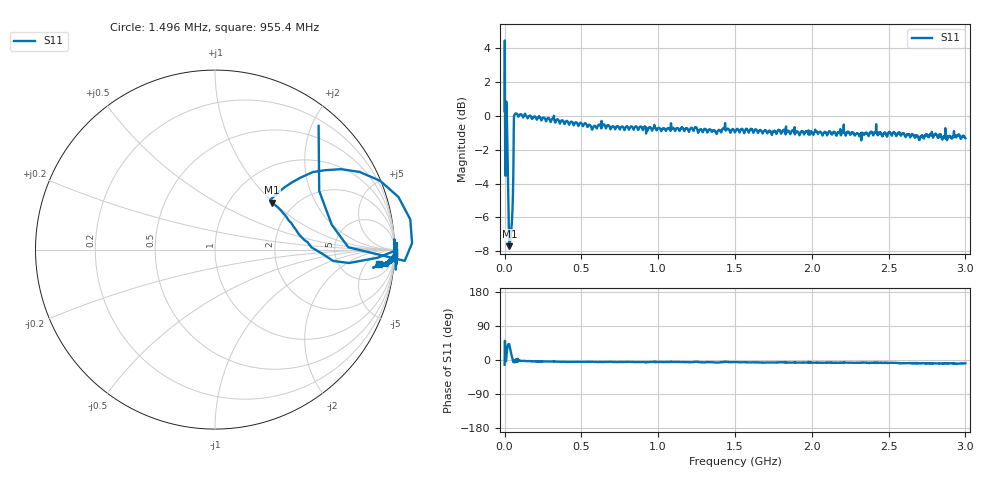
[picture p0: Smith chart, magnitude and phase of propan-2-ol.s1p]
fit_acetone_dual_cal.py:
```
"""
Dual-Reference Calibration (Water + Isopropanol) for Acetone (Propan-2-one) Analysis

Method:
1. Load Reference Data:
   - Isopropanol (NPL 15°C)
   - Water (Literature 20°C)
2. Load S1P Measurements:
   - Isopropanol
   - Water
   - Acetone (Propan-2-one)
3. Create Dual Calibration Mapping:
   Model: ε = α * Y + β
   Where Y = (1-S11)/(1+S11) (Admittance)
   We solve for complex coefficients α and β at each frequency using the two standards.
4. Apply mapping to Acetone S1P to extract permittivity.
5. Fit Debye model to the result.
"""

import numpy as np
import matplotlib.pyplot as plt
from pathlib import Path
import sys
from scipy.optimize import minimize

# Add parent directory to path for imports
sys.path.insert(0, str(Path(__file__).parent))
from ml_classifier.data_loader import parse_s1p_file

# =============================================================================
# MODELS
# =============================================================================

def debye_model(f, eps_s, eps_inf, tau):
    """Single Debye relaxation - returns complex permittivity"""
    omega = 2 * np.pi * f
    denom = 1 + (omega * tau)**2
    eps_prime = eps_inf + (eps_s - eps_inf) / denom
    eps_double_prime = (eps_s - eps_inf) * omega * tau / denom
    return eps_prime, eps_double_prime

def s11_to_admittance(s11_mag, phase_rad):
    """Convert S11 (polar) to Admittance Y = (1-Gamma)/(1+Gamma)"""
    gamma = s11_mag * np.exp(1j * phase_rad)
    # Avoid division by zero if gamma is exactly -1
    gamma = np.where(gamma == -1, -0.999999, gamma)
    y = (1 - gamma) / (1 + gamma)
    return y

# =============================================================================
# DATA LOADING
# =============================================================================

def load_npl_isopropanol():
    """Load NPL reference data for isopropanol at 15C"""
    csv_path = Path("isopropanol_permittivity_15C_NPL.csv")
    if not csv_path.exists():
        raise FileNotFoundError(f"Could not find {csv_path}")
        
    data = np.genfromtxt(csv_path, delimiter=',', skip_header=1)
    return {
        'freq_hz': data[:, 0] * 1e9,
        'freq_ghz': data[:, 0],
        'eps_prime': data[:, 1],
        'eps_double_prime': data[:, 3]
    }

def load_literature_water():
    """Load literature water permittivity data"""
    csv_path = Path("water_permittivity_literature.csv")
    if not csv_path.exists():
        raise FileNotFoundError(f"Could not find {csv_path}")
        
    data = np.genfromtxt(csv_path, delimiter=',', skip_header=1)
    return {
        'freq_ghz': data[:, 0],
        'eps_prime_20C': data[:, 3],
        'eps_double_prime_20C': data[:, 4]
    }

def load_s1p_file(filepath):
    """Load S1P file and return frequency, magnitude (linear), phase (rad)"""
    freq_hz, s11_db, phase_deg = parse_s1p_file(filepath)
    return {
        'freq_hz': freq_hz,
        'freq_ghz': freq_hz / 1e9,
        's11_mag': 10 ** (s11_db / 20),
        'phase_rad': np.deg2rad(phase_deg),
        's11_db': s11_db,
        'phase_deg': phase_deg
    }

# =============================================================================
# DUAL CALIBRATION
# =============================================================================

def create_dual_calibration(npl_iso, lit_water, s1p_iso, s1p_water, freq_range=(0.1e9, 3e9)):
    """
    Create calibration using TWO standards: Isopropanol and Water.
    Model: epsilon = alpha * Y + beta
    """
    # Common frequencies (use NPL iso frequencies as base)
    mask = (npl_iso['freq_hz'] >= freq_range[0]) & (npl_iso['freq_hz'] <= freq_range[1])
    freqs = npl_iso['freq_hz'][mask]
    
    # 1. Reference Permittivities at these frequencies
    # Isopropanol
    eps_iso = npl_iso['eps_prime'][mask] - 1j * npl_iso['eps_double_prime'][mask]
    
    # Water (Interpolate literature data)
    # Use 20C data as it's closest to 18C measurements
    eps_water_prime = np.interp(freqs/1e9, lit_water['freq_ghz'], lit_water['eps_prime_20C'])
    eps_water_dprime = np.interp(freqs/1e9, lit_water['freq_ghz'], lit_water['eps_double_prime_20C'])
    eps_water = eps_water_prime - 1j * eps_water_dprime
    
    # 2. Measured Admittances at these frequencies
    # Isopropanol
    s11_iso_mag = np.interp(freqs, s1p_iso['freq_hz'], s1p_iso['s11_mag'])
    phase_iso = np.interp(freqs, s1p_iso['freq_hz'], s1p_iso['phase_rad'])
    y_iso = s11_to_admittance(s11_iso_mag, phase_iso)
    
    # Water
    s11_water_mag = np.interp(freqs, s1p_water['freq_hz'], s1p_water['s11_mag'])
    phase_water = np.interp(freqs, s1p_water['freq_hz'], s1p_water['phase_rad'])
    y_water = s11_to_admittance(s11_water_mag, phase_water)
    
    # 3. Solve for alpha and beta
    # epsilon = alpha * Y + beta
    # eps_iso = alpha * y_iso + beta
    # eps_water = alpha * y_water + beta
    
    # Subtracting: eps_water - eps_iso = alpha * (y_water - y_iso)
    # alpha = (eps_water - eps_iso) / (y_water - y_iso)
    
    denom = y_water - y_iso
    # Avoid division by zero
    denom = np.where(np.abs(denom) < 1e-10, 1e-10, denom)
    
    alpha = (eps_water - eps_iso) / denom
    beta = eps_water - alpha * y_water
    
    return {
        'freq_hz': freqs,
        'alpha': alpha,
        'beta': beta,
        'y_iso': y_iso,
        'y_water': y_water,
        'eps_iso': eps_iso,
        'eps_water': eps_water
    }

def apply_dual_calibration(calibration, s1p_target):
    """Apply dual calibration to target S1P data"""
    cal_freqs = calibration['freq_hz']
    alpha = calibration['alpha']
    beta = calibration['beta']
    
    # Interpolate target S1P to calibration frequencies
    s11_mag_interp = np.interp(cal_freqs, s1p_target['freq_hz'], s1p_target['s11_mag'])
    phase_rad_interp = np.interp(cal_freqs, s1p_target['freq_hz'], s1p_target['phase_rad'])
    
    # Calculate Admittance Y for Target
    y_target = s11_to_admittance(s11_mag_interp, phase_rad_interp)
    
    # Apply Calibration: epsilon = alpha * Y + beta
    eps_complex = alpha * y_target + beta
    
    return {
        'freq_hz': cal_freqs,
        'freq_ghz': cal_freqs / 1e9,
        'eps_prime': np.real(eps_complex),
        'eps_double_prime': -np.imag(eps_complex), # Convention: eps'' is positive loss
        'y_target': y_target
    }

def fit_debye_parameters(freq_hz, eps_prime, eps_double_prime):
    """Fit Debye model to extracted permittivity"""
    
    def residual(params):
        eps_s, eps_inf, tau = params
        ep, edp = debye_model(freq_hz, eps_s, eps_inf, tau)
        
        # Weighted residual
        res_p = np.sum(((eps_prime - ep) / np.mean(eps_prime))**2)
        res_dp = np.sum(((eps_double_prime - edp) / (np.mean(eps_double_prime)+0.1))**2)
        return res_p + res_dp

    # Initial guesses for Acetone
    # Expected: eps_s ~ 20-21, eps_inf ~ 1.8-2.0, tau ~ 3-4 ps
    x0 = [20.0, 1.9, 3e-12] # eps_s, eps_inf, tau
    bounds = [(5, 40), (1, 10), (1e-13, 1e-10)]
    
    result = minimize(residual, x0, bounds=bounds, method='L-BFGS-B')
    
    eps_s, eps_inf, tau = result.x
    
    # Calculate R2
    ep_fit, edp_fit = debye_model(freq_hz, eps_s, eps_inf, tau)
    ss_res = np.sum((eps_prime - ep_fit)**2) + np.sum((eps_double_prime - edp_fit)**2)
    ss_tot = np.sum((eps_prime - np.mean(eps_prime))**2) + np.sum((eps_double_prime - np.mean(eps_double_prime))**2)
    r2 = 1 - (ss_res / ss_tot)
    
    return {
        'eps_s': eps_s,
        'eps_inf': eps_inf,
        'tau': tau,
        'f_relax': 1/(2*np.pi*tau),
        'r2': r2
    }

# =============================================================================
# PLOTTING
# =============================================================================

def plot_results(calibration, target_result, target_fit, output_path):
    """Plot the results"""
    fig, axes = plt.subplots(2, 2, figsize=(14, 10))
    
    # 1. Calibration Standards (Admittance Plane)
    ax = axes[0, 0]
    ax.plot(np.real(calibration['y_iso']), np.imag(calibration['y_iso']), 'b-', label='Iso (Ref)')
    ax.plot(np.real(calibration['y_water']), np.imag(calibration['y_water']), 'c-', label='Water (Ref)')
    ax.plot(np.real(target_result['y_target']), np.imag(target_result['y_target']), 'r-', label='Acetone (Target)')
    ax.set_title("Admittance Plane (Y)")
    ax.set_xlabel("Real(Y)")
    ax.set_ylabel("Imag(Y)")
    ax.legend()
    ax.grid(True, alpha=0.3)
    
    # 2. Calibration Coefficients
    ax = axes[0, 1]
    freq_ghz = calibration['freq_hz'] / 1e9
    ax.plot(freq_ghz, np.abs(calibration['alpha']), 'g-', label='|α|')
    ax.plot(freq_ghz, np.abs(calibration['beta']), 'm-', label='|β|')
    ax.set_title("Calibration Coeffs (ε = αY + β)")
    ax.set_xlabel("Frequency (GHz)")
    ax.set_ylabel("Magnitude")
    ax.legend()
    ax.grid(True, alpha=0.3)
    
    # 3. Extracted Permittivity & Fit
    ax = axes[1, 0]
    freq_smooth = np.linspace(target_result['freq_hz'].min(), target_result['freq_hz'].max(), 100)
    ep_fit, edp_fit = debye_model(freq_smooth, target_fit['eps_s'], target_fit['eps_inf'], target_fit['tau'])
    
    ax.plot(target_result['freq_ghz'], target_result['eps_prime'], 'bo', alpha=0.5, label="Data")
    ax.plot(freq_smooth/1e9, ep_fit, 'k--', linewidth=2, label="Debye Fit")
    
    ax.set_title(f"Acetone ε' Fit (εs={target_fit['eps_s']:.2f})")
    ax.set_xlabel("Frequency (GHz)")
    ax.set_ylabel("Real Permittivity")
    ax.legend()
    ax.grid(True, alpha=0.3)
    
    # 4. Imaginary Part
    ax = axes[1, 1]
    ax.plot(target_result['freq_ghz'], target_result['eps_double_prime'], 'ro', alpha=0.5, label="Data")
    ax.plot(freq_smooth/1e9, edp_fit, 'k--', linewidth=2, label="Debye Fit")
    
    ax.set_title(f"Acetone ε'' Fit (τ={target_fit['tau']*1e12:.1f}ps)")
    ax.set_xlabel("Frequency (GHz)")
    ax.set_ylabel("Imaginary Permittivity")
    ax.legend()
    ax.grid(True, alpha=0.3)
    
    plt.suptitle(f"Acetone Dual-Cal Analysis (Water+Iso)\nR²={target_fit['r2']:.4f}", fontsize=14)
    plt.tight_layout(rect=[0, 0.03, 1, 0.97])
    plt.savefig(output_path, dpi=300)
    print(f"Saved plot to {output_path}")

# =============================================================================
# MAIN
# =============================================================================

def main():
    print("="*80)
    print("ACETONE (PROPAN-2-ONE) DUAL-CALIBRATION ANALYSIS")
    print("Using both Water and Isopropanol as references")
    print("="*80)
    
    # 1. Load References
    print("Loading Reference Data...")
    try:
        npl_iso = load_npl_isopropanol()
        lit_water = load_literature_water()
    except Exception as e:
        print(f"Error loading references: {e}")
        return

    # 2. Load S1P Files
    print("Loading S1P Measurements...")
    try:
        # Isopropanol
        iso_path = Path("Database/Isopropanol/propan-2-ol.s1p")
        if not iso_path.exists(): iso_path = Path("compounds/propan-2-ol.s1p")
        s1p_iso = load_s1p_file(iso_path)
        
        # Water
        water_path = Path("Database/Water/DI-water.s1p")
        if not water_path.exists(): water_path = Path("compounds/DI-water.s1p")
        s1p_water = load_s1p_file(water_path)
        
        # Acetone
        acetone_path = Path("Database/Propan-2-one/propan-2-one.s1p")
        if not acetone_path.exists(): acetone_path = Path("compounds/propan-2-one.s1p")
        s1p_acetone = load_s1p_file(acetone_path)
        
    except Exception as e:
        print(f"Error loading S1P files: {e}")
        return
    
    # 3. Create Dual Calibration
    print("Creating Dual Calibration (Water + Iso)...")
    cal = create_dual_calibration(npl_iso, lit_water, s1p_iso, s1p_water)
    
    # 4. Apply to Acetone
    print("Applying Calibration to Acetone...")
    acetone_result = apply_dual_calibration(cal, s1p_acetone)
    
    # 5. Fit Debye
    print("Fitting Debye Model...")
    fit = fit_debye_parameters(acetone_result['freq_hz'], 
                               acetone_result['eps_prime'], 
                               acetone_result['eps_double_prime'])
    
    print("\nRESULTS:")
    print(f"Static Permittivity (εs): {fit['eps_s']:.2f} (Expected ~20-21)")
    print(f"High-Freq Permittivity (ε∞): {fit['eps_inf']:.2f} (Expected ~1.8-2.0)")
    print(f"Relaxation Time (τ): {fit['tau']*1e12:.2f} ps (Expected ~3-4 ps)")
    print(f"Relaxation Freq: {fit['f_relax']/1e9:.2f} GHz")
    print(f"Fit Quality (R²): {fit['r2']:.4f}")
    
    # 6. Plot
    output_dir = Path("demo_results")
    output_dir.mkdir(exist_ok=True)
    plot_results(cal, acetone_result, fit, output_dir / "acetone_dual_cal.png")

if __name__ == "__main__":
    main()
```
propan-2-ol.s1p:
# HZ S RI R 50
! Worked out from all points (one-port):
!   2020 points, 10 kHz to 3 GHz, reference 50 ohm
!   lowest |S11| = -7.7 dB at 31.21 MHz (marker M1), VSWR 2.40, Z = 77.9 + j49.1 ohm
!   |S11| at or under -10 dB: nowhere
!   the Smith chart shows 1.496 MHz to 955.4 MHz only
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10000  1.007 -0.2228
5953516  0.6506 0.1382
1.635467e7  0.806 0.4327
1.932643e7  0.6108 0.4421
2.378406e7  0.4275 0.3737
3.121346e7  0.3186 0.2618
3.715698e7  0.3822 0.2005
4.310049e7  0.4379 0.1281
6.39028e7  1.004 -0.0257
7.578983e7  1.013 0.0365
3.68508e8  0.9625 -0.0802
1.000007e9  0.9154 -0.0896
2.000003e9  0.8885 -0.1093
3e9  0.849 -0.1281
